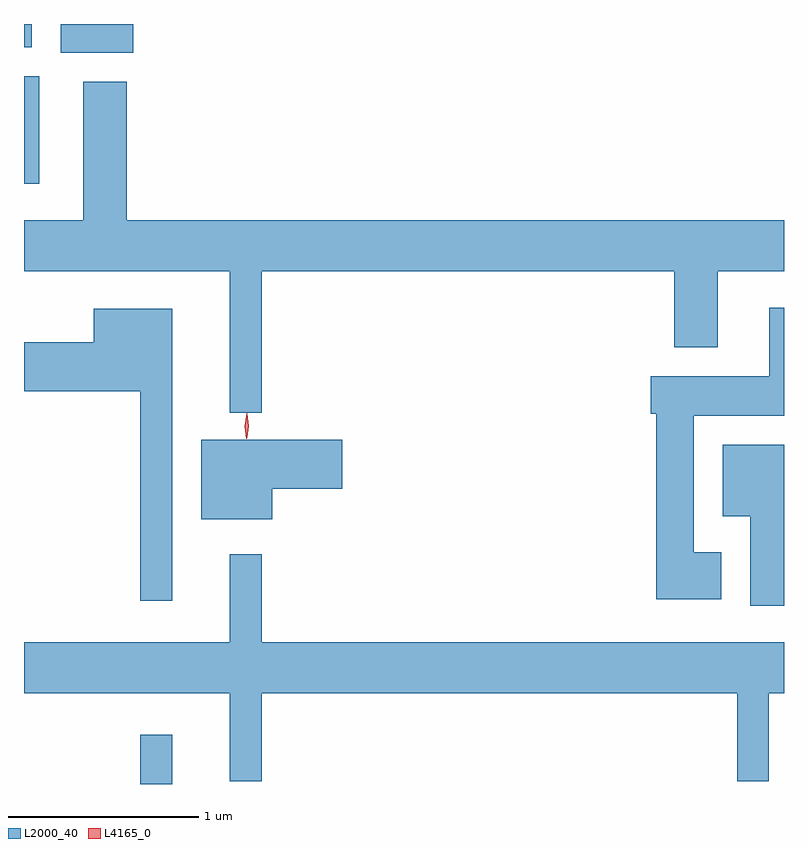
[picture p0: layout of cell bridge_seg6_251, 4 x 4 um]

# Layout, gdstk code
import gdstk
lib = gdstk.Library(unit=1e-6, precision=1e-09)
def R(c, l, rs):  # rectangles x0, y0, x1, y1
    for r in rs: c.add(gdstk.rectangle(r[:2], r[2:], *l))
def P(c, l, *ps):  # polygons
    for p in ps: c.add(gdstk.Polygon(p, *l))
L2000_40 = (2000, 40)
L4165_0 = (4165, 0)

bridge_seg6_251 = lib.new_cell('bridge_seg6_251')
R(bridge_seg6_251, L2000_40, [(1260.421,1569.538,1260.589,1569.798), (1259.808,1572.696,1259.889,1573.264), (1260.001,1573.386,1260.384,1573.538), (1259.808,1573.416,1259.849,1573.538)])
P(bridge_seg6_251, L2000_40, [(1261.059,1572.236),(1263.231,1572.236),(1263.231,1571.836),(1263.459,1571.836),(1263.459,1572.236),(1263.808,1572.236),(1263.808,1572.504),(1260.349,1572.504),(1260.349,1573.234),(1260.121,1573.234),(1260.121,1572.504),(1259.808,1572.504),(1259.808,1572.236),(1260.891,1572.236),(1260.891,1571.493),(1261.059,1571.493)],
  [(1263.479,1570.759),(1263.334,1570.759),(1263.334,1571.476),(1263.808,1571.476),(1263.808,1572.044),(1263.731,1572.044),(1263.731,1571.684),(1263.106,1571.684),(1263.106,1571.486),(1263.136,1571.486),(1263.136,1570.511),(1263.479,1570.511)],
  [(1260.589,1572.039),(1260.176,1572.039),(1260.176,1571.864),(1259.808,1571.864),(1259.808,1571.606),(1260.421,1571.606),(1260.421,1570.503),(1260.589,1570.503)],
  [(1261.114,1571.091),(1261.484,1571.091),(1261.484,1571.349),(1260.741,1571.349),(1260.741,1570.931),(1261.114,1570.931)],
  [(1263.808,1571.324),(1263.486,1571.324),(1263.486,1570.946),(1263.631,1570.946),(1263.631,1570.476),(1263.808,1570.476)],
  [(1261.059,1570.016),(1263.561,1570.016),(1263.561,1569.553),(1263.729,1569.553),(1263.729,1570.016),(1263.808,1570.016),(1263.808,1570.284),(1261.059,1570.284),(1261.059,1570.748),(1260.891,1570.748),(1260.891,1570.284),(1259.808,1570.284),(1259.808,1570.016),(1260.891,1570.016),(1260.891,1569.553),(1261.059,1569.553)])
P(bridge_seg6_251, L4165_0, [(1260.979,1571.354),(1260.979,1571.354),(1260.97,1571.422),(1260.98,1571.49),(1260.981,1571.49),(1260.981,1571.49),(1260.99,1571.422),(1260.98,1571.354)],
  [(1260.982,1571.36),(1260.982,1571.361),(1260.972,1571.424),(1260.98,1571.486),(1260.981,1571.487),(1260.982,1571.486),(1260.992,1571.424),(1260.983,1571.361)])

lib.write_gds('bridge_seg6_251.gds')
